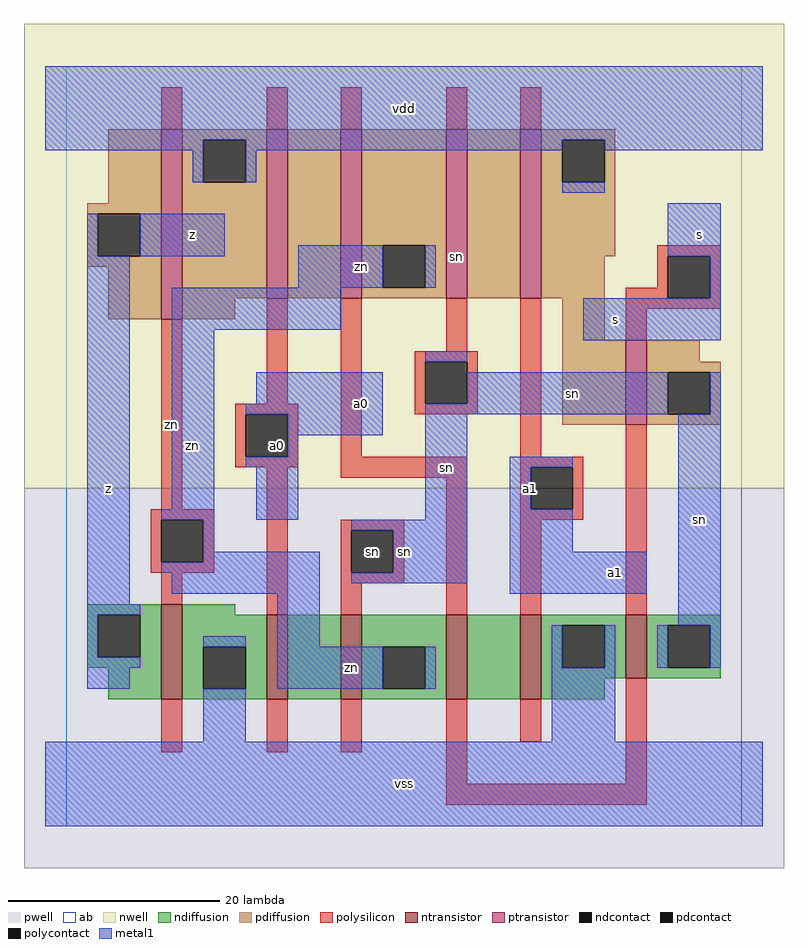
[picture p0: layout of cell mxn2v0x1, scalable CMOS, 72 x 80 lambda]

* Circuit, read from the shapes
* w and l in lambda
.subckt mxn2v0x1 a0 a1 s sn vdd vss z zn
M1 vss zn z VSUBS nfet w=9 l=2
M2 n1 a0 vss VSUBS nfet w=8 l=2
M3 zn sn n1 VSUBS nfet w=8 l=2
M4 n2 s zn VSUBS nfet w=8 l=2
M5 vss a1 n2 VSUBS nfet w=8 l=2
M6 sn s vss VSUBS nfet w=6 l=2
M7 vdd zn z n3 pfet w=18 l=2
M8 n4 a0 vdd n3 pfet w=16 l=2
M9 zn s n4 n3 pfet w=16 l=2
M10 n5 sn zn n3 pfet w=16 l=2
M11 vdd a1 n5 n3 pfet w=16 l=2
M12 sn s vdd n3 pfet w=8 l=2
.ends

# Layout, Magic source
magic
tech scmos
<< ab >>
rect 0 0 64 72
<< pwell >>
rect -4 -4 68 32
<< nwell >>
rect -4 32 68 76
<< polysilicon >>
rect 9 66 11 70
rect 19 66 21 70
rect 26 66 28 70
rect 36 66 38 70
rect 43 66 45 70
rect 56 54 62 55
rect 56 51 57 54
rect 9 30 11 48
rect 19 40 21 50
rect 16 39 22 40
rect 16 35 17 39
rect 21 35 22 39
rect 16 34 22 35
rect 26 35 28 50
rect 36 45 38 50
rect 33 44 39 45
rect 33 40 34 44
rect 38 40 39 44
rect 33 39 39 40
rect 43 35 45 50
rect 53 50 57 51
rect 61 50 62 54
rect 53 49 62 50
rect 53 46 55 49
rect 8 29 14 30
rect 8 25 9 29
rect 13 25 14 29
rect 8 24 14 25
rect 9 21 11 24
rect 19 20 21 34
rect 26 33 38 35
rect 26 28 32 29
rect 26 24 27 28
rect 31 24 32 28
rect 26 23 32 24
rect 26 20 28 23
rect 36 20 38 33
rect 43 34 49 35
rect 43 30 44 34
rect 48 30 49 34
rect 43 29 49 30
rect 43 20 45 29
rect 53 20 55 38
rect 9 7 11 12
rect 19 7 21 12
rect 26 7 28 12
rect 36 4 38 12
rect 43 8 45 12
rect 53 4 55 14
rect 36 2 55 4
<< ndiffusion >>
rect 2 20 9 21
rect 2 16 3 20
rect 7 16 9 20
rect 2 15 9 16
rect 4 12 9 15
rect 11 20 16 21
rect 11 17 19 20
rect 11 13 13 17
rect 17 13 19 17
rect 11 12 19 13
rect 21 12 26 20
rect 28 17 36 20
rect 28 13 30 17
rect 34 13 36 17
rect 28 12 36 13
rect 38 12 43 20
rect 45 19 53 20
rect 45 15 47 19
rect 51 15 53 19
rect 45 14 53 15
rect 55 19 62 20
rect 55 15 57 19
rect 61 15 62 19
rect 55 14 62 15
rect 45 12 51 14
<< pdiffusion >>
rect 4 59 9 66
rect 2 58 9 59
rect 2 54 3 58
rect 7 54 9 58
rect 2 53 9 54
rect 4 48 9 53
rect 11 65 19 66
rect 11 61 13 65
rect 17 61 19 65
rect 11 50 19 61
rect 21 50 26 66
rect 28 55 36 66
rect 28 51 30 55
rect 34 51 36 55
rect 28 50 36 51
rect 38 50 43 66
rect 45 65 52 66
rect 45 61 47 65
rect 51 61 52 65
rect 45 54 52 61
rect 45 50 51 54
rect 11 48 16 50
rect 47 46 51 50
rect 47 38 53 46
rect 55 44 60 46
rect 55 43 62 44
rect 55 39 57 43
rect 61 39 62 43
rect 55 38 62 39
<< metal1 >>
rect -2 65 66 72
rect -2 64 13 65
rect 12 61 13 64
rect 17 64 47 65
rect 17 61 18 64
rect 51 64 66 65
rect 47 60 51 61
rect 2 54 3 58
rect 7 54 15 58
rect 2 21 6 54
rect 22 51 30 55
rect 34 51 35 55
rect 57 54 62 59
rect 10 47 26 51
rect 61 50 62 54
rect 10 30 14 47
rect 49 46 62 50
rect 34 44 38 45
rect 18 40 30 43
rect 17 39 30 40
rect 21 37 30 39
rect 38 40 57 43
rect 34 39 57 40
rect 61 39 62 43
rect 21 35 22 37
rect 17 34 22 35
rect 9 29 14 30
rect 18 29 22 34
rect 34 29 38 39
rect 13 26 14 29
rect 27 28 38 29
rect 13 25 24 26
rect 9 24 24 25
rect 10 22 24 24
rect 31 24 38 28
rect 27 23 38 24
rect 42 34 48 35
rect 42 30 44 34
rect 42 26 48 30
rect 42 22 55 26
rect 2 20 7 21
rect 2 16 3 20
rect 2 15 7 16
rect 13 17 17 18
rect 2 13 6 15
rect 20 17 24 22
rect 58 19 62 39
rect 20 13 30 17
rect 34 13 35 17
rect 46 15 47 19
rect 51 15 52 19
rect 56 15 57 19
rect 61 15 62 19
rect 13 8 17 13
rect 46 8 52 15
rect -2 0 66 8
<< ntransistor >>
rect 9 12 11 21
rect 19 12 21 20
rect 26 12 28 20
rect 36 12 38 20
rect 43 12 45 20
rect 53 14 55 20
<< ptransistor >>
rect 9 48 11 66
rect 19 50 21 66
rect 26 50 28 66
rect 36 50 38 66
rect 43 50 45 66
rect 53 38 55 46
<< polycontact >>
rect 17 35 21 39
rect 34 40 38 44
rect 57 50 61 54
rect 9 25 13 29
rect 27 24 31 28
rect 44 30 48 34
<< ndcontact >>
rect 3 16 7 20
rect 13 13 17 17
rect 30 13 34 17
rect 47 15 51 19
rect 57 15 61 19
<< pdcontact >>
rect 3 54 7 58
rect 13 61 17 65
rect 30 51 34 55
rect 47 61 51 65
rect 57 39 61 43
<< labels >>
rlabel polysilicon 10 38 10 38 6 zn
rlabel polycontact 29 26 29 26 6 sn
rlabel ptransistor 37 54 37 54 6 sn
rlabel metal1 4 32 4 32 6 z
rlabel metal1 12 36 12 36 6 zn
rlabel metal1 12 56 12 56 6 z
rlabel metal1 28 40 28 40 6 a0
rlabel polycontact 20 36 20 36 6 a0
rlabel metal1 32 4 32 4 6 vss
rlabel metal1 27 15 27 15 6 zn
rlabel metal1 32 26 32 26 6 sn
rlabel metal1 44 32 44 32 6 a1
rlabel metal1 36 34 36 34 6 sn
rlabel metal1 28 53 28 53 6 zn
rlabel metal1 32 68 32 68 6 vdd
rlabel metal1 52 24 52 24 6 a1
rlabel metal1 60 29 60 29 6 sn
rlabel metal1 52 48 52 48 6 s
rlabel metal1 48 41 48 41 6 sn
rlabel metal1 60 56 60 56 6 s
<< end >>
